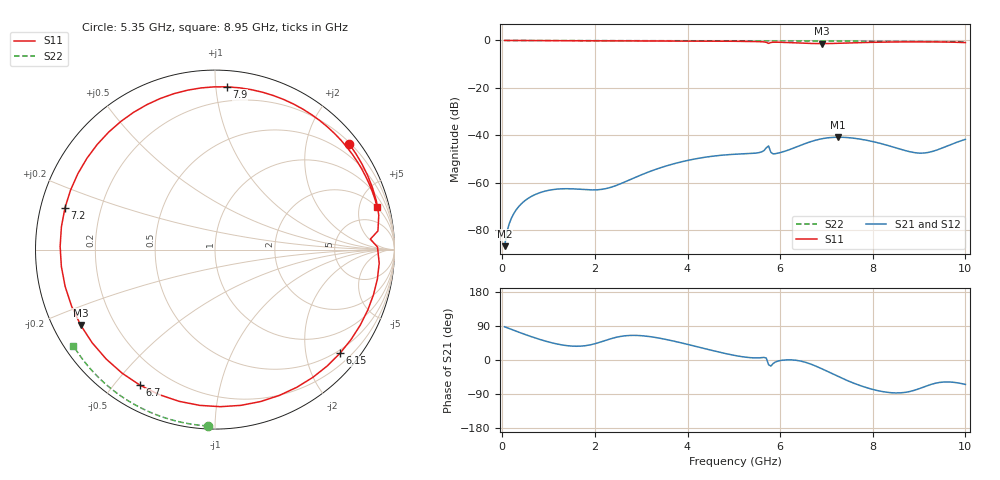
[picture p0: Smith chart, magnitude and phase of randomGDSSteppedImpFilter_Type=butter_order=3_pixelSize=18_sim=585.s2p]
! freq	dB(S11)	phase(S11)	dB(S12)	phase(S12)
!  dB(S21)	phase(S21)	dB(S22)	phase(S22)
!S-par simulation data
#  GHz  S  DB  R 50
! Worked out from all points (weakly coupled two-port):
!   200 points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, 50 MHz to 10 GHz, reference 50 ohm
!   highest |S21| = -40.87 dB at 7.25 GHz (marker M1); lowest = -86.9 dB at 50 MHz (marker M2)
!   lowest |S11| = -1.3 dB at 6.9 GHz (marker M3), VSWR 13.16, Z = 4.06 - j13 ohm
!   |S11| at or under -10 dB: nowhere
!   |S22| runs from -0.5 to 0.0 dB; largest |S21 - S12| = 0
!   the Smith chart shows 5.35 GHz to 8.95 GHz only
!   S11 on the Smith chart (normalised r, x): 5.35 GHz: 0.23, +2.86; 6.15 GHz: 0.43, -2.72; 6.7 GHz: 0.10, -0.58; 7.2 GHz: 0.07, +0.14; 7.9 GHz: 0.10, +1.07; 8.95 GHz: 1.90, +7.19
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0.05  -0.00 -3.9  -86.88 87.7  -86.88 87.7  -0.00 -0.9
0.4  -0.04 -30.3  -69.21 71.4  -69.21 71.4  -0.01 -7.4
0.9  -0.08 -66.3  -63.75 51.0  -63.75 51.0  -0.02 -16.6
1.75  -0.13 -120.1  -62.95 37.1  -62.95 37.1  -0.04 -32.1
2.55  -0.15 -163.3  -60.55 62.1  -60.55 62.1  -0.06 -46.2
3.4  -0.19 153.9  -53.86 57.5  -53.86 57.5  -0.08 -60.8
4.3  -0.25 106.8  -49.57 32.2  -49.57 32.2  -0.11 -75.7
5.05  -0.36 60.5  -48.03 11.3  -48.03 11.3  -0.14 -87.7
5.35  -0.43 38.3  -47.75 6.2  -47.75 6.2  -0.15 -92.4
5.75  -1.23 3.9  -44.54 -12.3  -44.54 -12.3  -0.17 -98.5
5.85  -0.74 -4.7  -47.89 -9.0  -47.89 -9.0  -0.17 -100.0
6.15  -0.87 -39.6  -46.46 0.4  -46.46 0.4  -0.19 -104.6
6.45  -1.11 -80.6  -44.22 -3.0  -44.22 -3.0  -0.21 -109.1
6.7  -1.28 -119.0  -42.49 -12.6  -42.49 -12.6  -0.22 -112.8
6.9  -1.32 -150.7  -41.52 -23.2  -41.52 -23.2  -0.23 -115.8
7.2  -1.23 164.5  -40.88 -40.6  -40.88 -40.6  -0.26 -120.2
7.25  -1.21 157.6  -40.87 -43.4  -40.87 -43.4  -0.26 -121.0
7.55  -1.02 120.6  -41.19 -59.3  -41.19 -59.3  -0.28 -125.4
7.9  -0.83 85.8  -42.29 -74.3  -42.29 -74.3  -0.31 -130.5
8.35  -0.67 50.9  -44.48 -85.8  -44.48 -85.8  -0.35 -137.1
8.95  -0.59 14.8  -47.49 -77.9  -47.49 -77.9  -0.41 -145.9
10  -0.89 -33.2  -41.77 -64.5  -41.77 -64.5  -0.54 -161.6
